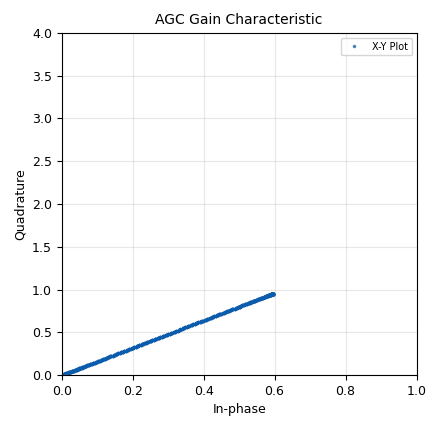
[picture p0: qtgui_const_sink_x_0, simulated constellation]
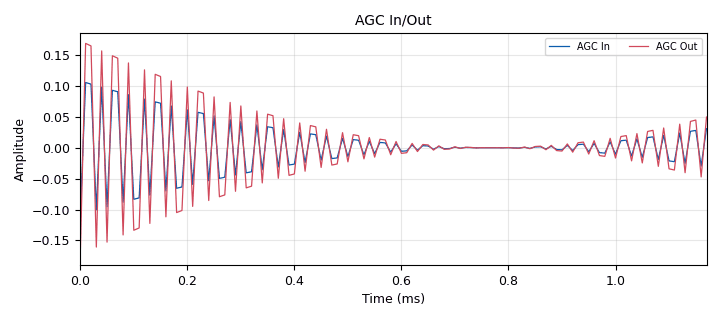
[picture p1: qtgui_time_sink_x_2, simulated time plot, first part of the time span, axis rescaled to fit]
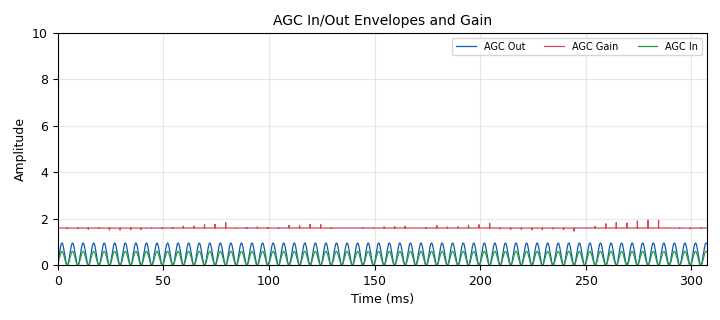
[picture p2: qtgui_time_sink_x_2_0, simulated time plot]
options:
  parameters:
    author: Francisco Nicolás Pérez Fernández
    generate_options: qt_gui
    id: automaticGainControlCharacterization
    output_language: python
    title: AGC Block Characterization
  states: {}

blocks:
- name: agcFreq
  id: variable_qtgui_range
  parameters:
    gui_hint: 4,1,1,1
    label: AGC Freq
    orient: Qt.Horizontal
    start: '0.1'
    step: '0.1'
    stop: 600e3
    value: '10000'
  states: {}
- name: agcInitialGain
  id: variable
  parameters:
    value: '1'
  states: {}
- name: agcMaxGain
  id: variable_qtgui_range
  parameters:
    gui_hint: 3,1,1,1
    label: AGC Max gain
    orient: Qt.Horizontal
    start: '0.001'
    step: '0.001'
    stop: '100'
    value: '8'
  states: {}
- name: agcRef
  id: variable_qtgui_range
  parameters:
    gui_hint: 2,1,1,1
    label: AGC Reference gain
    orient: Qt.Horizontal
    start: '0.001'
    step: '0.001'
    stop: '100'
    value: '5'
  states: {}
- name: agcTimeInSamples
  id: variable
  parameters:
    value: agcTimeInSec*samp_rate
  states: {}
- name: agcTimeInSec
  id: variable
  parameters:
    value: 1/agcFreq
  states: {}
- name: carrier_freq
  id: variable_qtgui_range
  parameters:
    gui_hint: 4,0,1,1
    label: Source Carrier Freq
    orient: Qt.Horizontal
    start: '500'
    step: '1'
    stop: 100e3
    value: 38e3
  states: {}
- name: input_gain
  id: variable_qtgui_range
  parameters:
    gui_hint: 2,0,1,1
    label: AGC Input Gain
    orient: Qt.Horizontal
    start: '0'
    step: '0.001'
    stop: '10'
    value: '1'
  states: {}
- name: normalization_constant
  id: variable
  parameters:
    value: '1.57'
  states: {}
- name: outputGain
  id: variable_qtgui_range
  parameters:
    gui_hint: 1,1,1,1
    label: AGC Output Gain
    orient: Qt.Horizontal
    start: '0'
    step: '0.001'
    stop: '10'
    value: '1'
  states: {}
- name: samp_rate
  id: variable
  parameters:
    value: 100e3
  states: {}
- name: sourceAmplitude
  id: variable_qtgui_range
  parameters:
    gui_hint: 1,0,1,1
    label: Source Envelope Amplitude
    orient: Qt.Horizontal
    start: '0'
    step: '0.0001'
    stop: '10'
    value: '1'
  states: {}
- name: source_freq
  id: variable_qtgui_range
  parameters:
    gui_hint: 3,0,1,1
    label: Source Envelope Freq
    orient: Qt.Horizontal
    start: '50'
    step: '1'
    stop: 10e3
    value: '200'
  states: {}
- name: analog_agc_xx_0_0_0
  id: analog_agc_xx
  parameters:
    gain: agcInitialGain
    max_gain: agcMaxGain
    rate: 1/agcTimeInSamples
    reference: agcRef
    type: float
  states: {}
- name: analog_sig_source_x_0_0
  id: analog_sig_source_x
  parameters:
    amp: sourceAmplitude/2
    comment: Modulator (Sine)
    freq: source_freq
    offset: sourceAmplitude/2
    phase: '0'
    samp_rate: samp_rate
    type: float
    waveform: analog.GR_SIN_WAVE
  states: {}
- name: analog_sig_source_x_0_0_0
  id: analog_sig_source_x
  parameters:
    amp: '1'
    comment: Carrier (Sine)
    freq: carrier_freq
    offset: '0'
    phase: '0'
    samp_rate: samp_rate
    type: float
    waveform: analog.GR_SIN_WAVE
  states: {state: disabled}
- name: analog_sig_source_x_0_0_0_0
  id: analog_sig_source_x
  parameters:
    amp: '1'
    comment: Carrier (Square, Triangle)
    freq: carrier_freq
    offset: '-0.5'
    phase: '0'
    samp_rate: samp_rate
    type: float
    waveform: analog.GR_SQR_WAVE
  states: {}
- name: analog_sig_source_x_0_0_1
  id: analog_sig_source_x
  parameters:
    amp: sourceAmplitude
    comment: Modulator (Square/Triangle)
    freq: source_freq
    offset: '0'
    phase: '0'
    samp_rate: samp_rate
    type: float
    waveform: analog.GR_TRI_WAVE
  states: {state: disabled}
- name: blocks_abs_xx_0
  id: blocks_abs_xx
  parameters:
    comment: Rectifier
    type: float
  states: {}
- name: blocks_abs_xx_0_0
  id: blocks_abs_xx
  parameters:
    comment: Rectifier
    type: float
  states: {}
- name: blocks_divide_xx_0
  id: blocks_divide_xx
  parameters:
    comment: Gain calc.
    type: float
  states: {}
- name: blocks_float_to_complex_0
  id: blocks_float_to_complex
  parameters: {}
  states: {}
- name: blocks_moving_average_xx_0
  id: blocks_moving_average_xx
  parameters:
    alias: AGC In
    comment: Low pass filter
    length: int(samp_rate/carrier_freq)
    max_iter: '4000'
    scale: carrier_freq/samp_rate
    type: float
  states: {}
- name: blocks_moving_average_xx_0_0
  id: blocks_moving_average_xx
  parameters:
    alias: AGC Out
    comment: Low pass filter
    length: int(samp_rate/carrier_freq)
    max_iter: '4000'
    scale: carrier_freq/samp_rate
    type: float
  states: {}
- name: blocks_multiply_const_vxx_0
  id: blocks_multiply_const_vxx
  parameters:
    const: outputGain/agcRef
    type: float
  states: {}
- name: blocks_multiply_const_vxx_1
  id: blocks_multiply_const_vxx
  parameters:
    const: input_gain
    type: float
  states: {}
- name: blocks_multiply_const_xx_0
  id: blocks_multiply_const_xx
  parameters:
    comment: Amplitude compensation
    const: normalization_constant
    type: float
  states: {}
- name: blocks_multiply_const_xx_0_0
  id: blocks_multiply_const_xx
  parameters:
    comment: Amplitude compensation
    const: normalization_constant
    type: float
  states: {}
- name: blocks_multiply_xx_0
  id: blocks_multiply_xx
  parameters:
    comment: AM Modulator
    type: float
  states: {}
- name: blocks_throttle_0
  id: blocks_throttle
  parameters:
    samples_per_second: samp_rate
    type: float
  states: {}
- name: qtgui_const_sink_x_0
  id: qtgui_const_sink_x
  parameters:
    color1: '"Dark Blue"'
    comment: X-Y Plot (AGC Characteristic curve)
    grid: 'True'
    gui_hint: (0,1,1,1)
    label1: X-Y Plot
    marker1: '-1'
    name: '"AGC Gain Characteristic"'
    size: '1024'
    style1: '1'
    type: complex
    update_time: '0.0001'
    xmax: '1'
    xmin: '0'
    ymax: '4'
    ymin: '0'
  states: {}
- name: qtgui_time_sink_x_2
  id: qtgui_time_sink_x
  parameters:
    comment: Oscilloscope
    ctrlpanel: 'True'
    grid: 'True'
    gui_hint: (0,2,1,1)
    label1: AGC In
    label2: AGC Out
    name: '"AGC In/Out"'
    nconnections: '2'
    size: 1024*3*10
    srate: samp_rate
    tr_level: '0.1'
    tr_mode: qtgui.TRIG_MODE_AUTO
    type: float
    update_time: '0.001'
    ymax: '10'
    ymin: '-10'
  states: {}
- name: qtgui_time_sink_x_2_0
  id: qtgui_time_sink_x
  parameters:
    color1: red
    color2: green
    color3: blue
    comment: Oscilloscope (Envelopes & Gain)
    ctrlpanel: 'True'
    gui_hint: (0,0,1,1)
    label1: AGC Out
    label2: AGC Gain
    label3: AGC In
    name: '"AGC In/Out Envelopes and Gain"'
    nconnections: '3'
    size: 1024*3*10
    srate: samp_rate
    tr_level: '0.1'
    tr_mode: qtgui.TRIG_MODE_AUTO
    type: float
    update_time: '0.001'
    ymax: '10'
    ymin: '0'
  states: {}

connections:
- [analog_agc_xx_0_0_0, '0', blocks_multiply_const_vxx_0, '0']
- [analog_sig_source_x_0_0, '0', blocks_multiply_xx_0, '0']
- [analog_sig_source_x_0_0_0, '0', blocks_multiply_xx_0, '1']
- [analog_sig_source_x_0_0_0_0, '0', blocks_multiply_xx_0, '1']
- [analog_sig_source_x_0_0_1, '0', blocks_multiply_xx_0, '0']
- [blocks_abs_xx_0, '0', blocks_moving_average_xx_0, '0']
- [blocks_abs_xx_0_0, '0', blocks_moving_average_xx_0_0, '0']
- [blocks_divide_xx_0, '0', qtgui_time_sink_x_2_0, '1']
- [blocks_float_to_complex_0, '0', qtgui_const_sink_x_0, '0']
- [blocks_moving_average_xx_0, '0', blocks_divide_xx_0, '1']
- [blocks_moving_average_xx_0, '0', blocks_multiply_const_xx_0_0, '0']
- [blocks_moving_average_xx_0_0, '0', blocks_divide_xx_0, '0']
- [blocks_moving_average_xx_0_0, '0', blocks_multiply_const_xx_0, '0']
- [blocks_multiply_const_vxx_0, '0', blocks_abs_xx_0_0, '0']
- [blocks_multiply_const_vxx_0, '0', qtgui_time_sink_x_2, '1']
- [blocks_multiply_const_vxx_1, '0', analog_agc_xx_0_0_0, '0']
- [blocks_multiply_const_xx_0, '0', blocks_float_to_complex_0, '1']
- [blocks_multiply_const_xx_0, '0', qtgui_time_sink_x_2_0, '0']
- [blocks_multiply_const_xx_0_0, '0', blocks_float_to_complex_0, '0']
- [blocks_multiply_const_xx_0_0, '0', qtgui_time_sink_x_2_0, '2']
- [blocks_multiply_xx_0, '0', blocks_throttle_0, '0']
- [blocks_throttle_0, '0', blocks_abs_xx_0, '0']
- [blocks_throttle_0, '0', blocks_multiply_const_vxx_1, '0']
- [blocks_throttle_0, '0', qtgui_time_sink_x_2, '0']

metadata:
  file_format: 1
